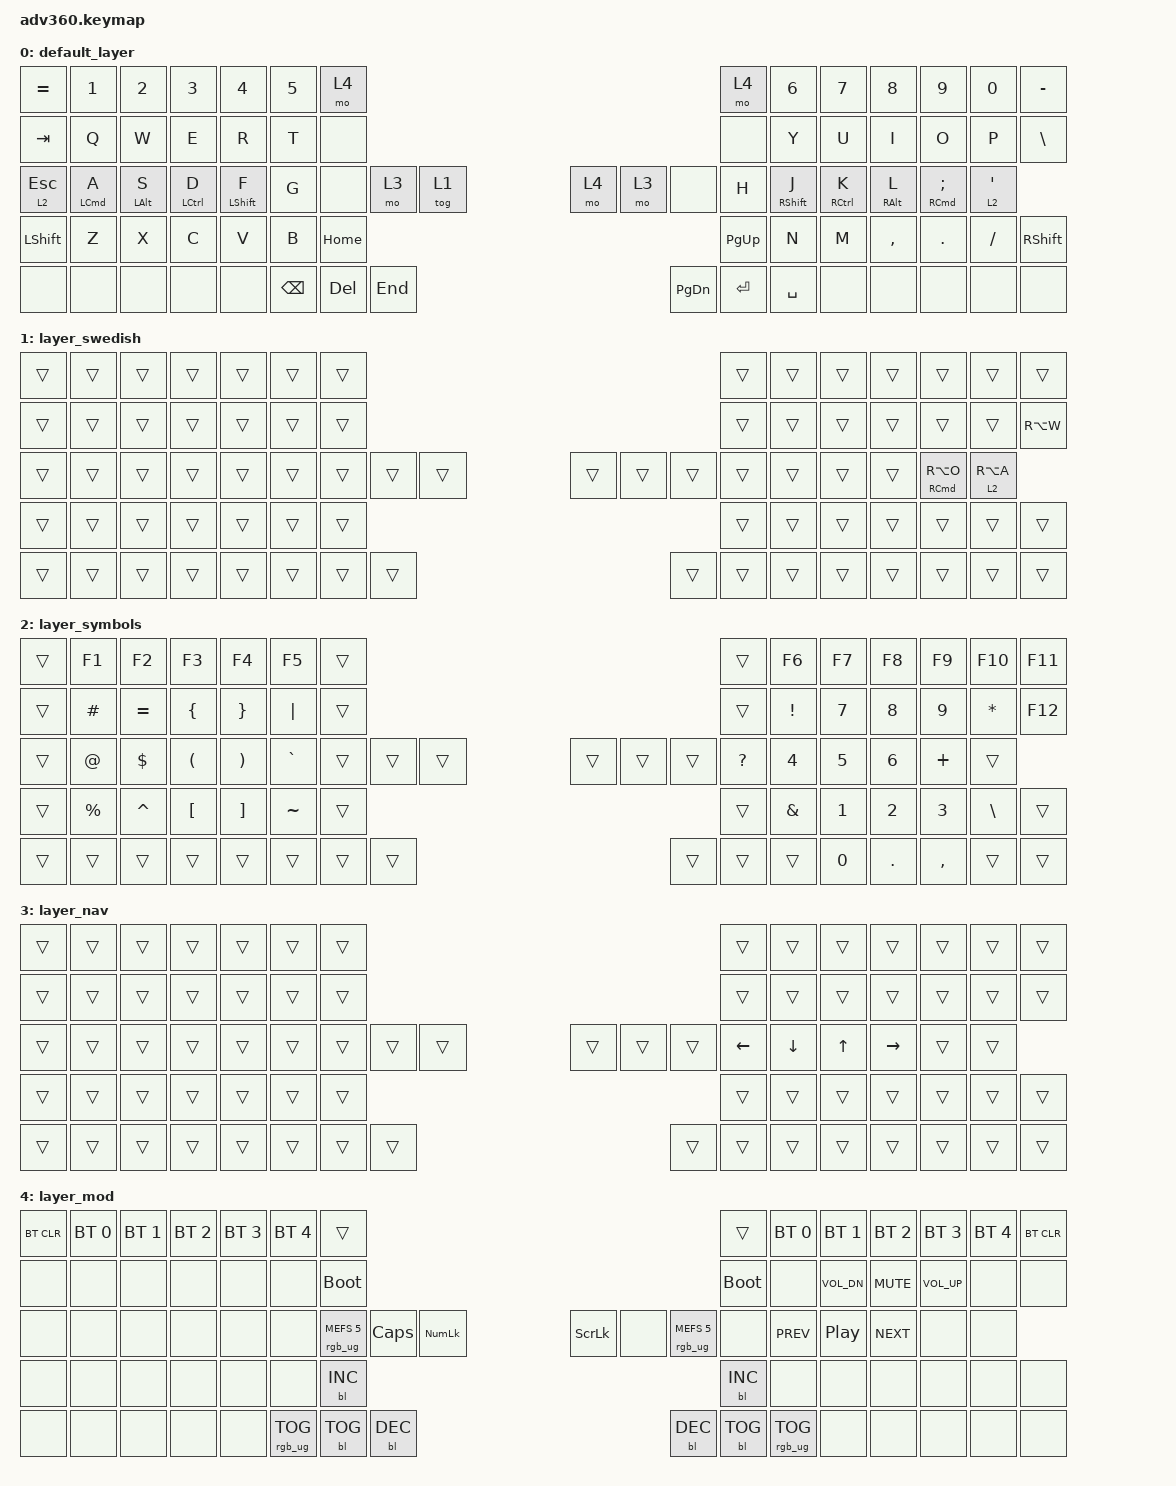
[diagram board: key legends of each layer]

/*
 * Copyright (c) 2020 The ZMK Contributors
 *
 * SPDX-License-Identifier: MIT
 */


/* THIS FILE WAS GENERATED!
 *
 * This file was generated automatically. You may or may not want to
 * edit it directly.
 */

#include <behaviors.dtsi>
#include <dt-bindings/zmk/keys.h>
#include <dt-bindings/zmk/bt.h>
#include <dt-bindings/zmk/rgb.h>
#include <dt-bindings/zmk/backlight.h>

/ {
  behaviors {
    #include "macros.dtsi"

    hm: homerow_mods {
        compatible = "zmk,behavior-hold-tap";
        label = "HOMEROW_MODS";
        #binding-cells = <2>;
        tapping-term-ms = <200>;
        quick_tap_ms = <175>;
        flavor = "tap-preferred";
        bindings = <&kp>, <&kp>;
    };
  };

    keymap {
        compatible = "zmk,keymap";


        default_layer {
            bindings = <
 &kp EQUAL              &kp N1          &kp N2              &kp N3            &kp N4  &kp N5               &mo 4                                                               &mo 4  &kp N6             &kp N7               &kp N8           &kp N9                       &kp N0  &kp MINUS
   &kp TAB               &kp Q           &kp W               &kp E             &kp R   &kp T               &none                                                               &none   &kp Y              &kp U                &kp I            &kp O                        &kp P   &kp BSLH
 &lt 2 ESC  &mt LEFT_COMMAND A  &mt LEFT_ALT S  &mt LEFT_CONTROL D  &mt LEFT_SHIFT F   &kp G               &none    &mo 3    &tog 1                      &mo 4      &mo 3      &none   &kp H  &mt RIGHT_SHIFT J  &mt RIGHT_CONTROL K  &mt RIGHT_ALT L  &mt RIGHT_COMMAND SEMICOLON  &lt 2 SQT
 &kp LSHFT               &kp Z           &kp X               &kp C             &kp V   &kp B                               &kp HOME                  &kp PG_UP                         &kp N              &kp M            &kp COMMA          &kp DOT                     &kp FSLH  &kp RSHFT
     &none               &none           &none               &none             &none                    &kp BSPC  &kp DEL   &kp END                  &kp PG_DN  &kp ENTER  &kp SPACE                      &none                &none            &none                        &none      &none
            >;
        };

        layer_swedish {
            bindings = <
 &trans  &trans  &trans  &trans  &trans  &trans            &trans                                                  &trans  &trans  &trans  &trans  &trans                   &trans       &trans
 &trans  &trans  &trans  &trans  &trans  &trans            &trans                                                  &trans  &trans  &trans  &trans  &trans                   &trans    &kp RA(W)
 &trans  &trans  &trans  &trans  &trans  &trans            &trans  &trans  &trans                  &trans  &trans  &trans  &trans  &trans  &trans  &trans  &mt RIGHT_COMMAND RA(O)  &lt 2 RA(A)
 &trans  &trans  &trans  &trans  &trans  &trans                            &trans                  &trans                  &trans  &trans  &trans  &trans                   &trans       &trans
 &trans  &trans  &trans  &trans  &trans                    &trans  &trans  &trans                  &trans  &trans  &trans          &trans  &trans  &trans                   &trans       &trans
            >;
        };

        layer_symbols {
            bindings = <
 &trans       &kp F1      &kp F2                &kp F3                 &kp F4     &kp F5            &trans                                                  &trans           &kp F6        &kp F7        &kp F8        &kp F9        &kp F10  &kp F11
 &trans     &kp HASH   &kp EQUAL        &kp LEFT_BRACE        &kp RIGHT_BRACE   &kp PIPE            &trans                                                  &trans  &kp EXCLAMATION  &kp NUMBER_7  &kp NUMBER_8  &kp NUMBER_9       &kp STAR  &kp F12
 &trans  &kp AT_SIGN  &kp DOLLAR  &kp LEFT_PARENTHESIS  &kp RIGHT_PARENTHESIS  &kp GRAVE            &trans  &trans  &trans                  &trans  &trans  &trans     &kp QUESTION  &kp NUMBER_4  &kp NUMBER_5  &kp NUMBER_6       &kp PLUS   &trans
 &trans  &kp PERCENT   &kp CARET      &kp LEFT_BRACKET      &kp RIGHT_BRACKET  &kp TILDE                            &trans                  &trans                    &kp AMPERSAND  &kp NUMBER_1  &kp NUMBER_2  &kp NUMBER_3  &kp BACKSLASH   &trans
 &trans       &trans      &trans                &trans                 &trans                       &trans  &trans  &trans                  &trans  &trans  &trans                   &kp NUMBER_0       &kp DOT     &kp COMMA         &trans   &trans
            >;
        };

        layer_nav {
            bindings = <
 &trans  &trans  &trans  &trans  &trans  &trans            &trans                                                  &trans    &trans    &trans  &trans     &trans  &trans  &trans
 &trans  &trans  &trans  &trans  &trans  &trans            &trans                                                  &trans    &trans    &trans  &trans     &trans  &trans  &trans
 &trans  &trans  &trans  &trans  &trans  &trans            &trans  &trans  &trans                  &trans  &trans  &trans  &kp LEFT  &kp DOWN  &kp UP  &kp RIGHT  &trans  &trans
 &trans  &trans  &trans  &trans  &trans  &trans                            &trans                  &trans                    &trans    &trans  &trans     &trans  &trans  &trans
 &trans  &trans  &trans  &trans  &trans                    &trans  &trans  &trans                  &trans  &trans  &trans              &trans  &trans     &trans  &trans  &trans
            >;
        };

        layer_mod {
            bindings = <
 &bt BT_CLR  &bt BT_SEL 0  &bt BT_SEL 1  &bt BT_SEL 2  &bt BT_SEL 3  &bt BT_SEL 4                            &trans                                                                                            &trans  &bt BT_SEL 0  &bt BT_SEL 1      &bt BT_SEL 2  &bt BT_SEL 3  &bt BT_SEL 4  &bt BT_CLR
      &none         &none         &none         &none         &none         &none                       &bootloader                                                                                       &bootloader         &none  &kp C_VOL_DN        &kp K_MUTE  &kp C_VOL_UP         &none       &none
      &none         &none         &none         &none         &none         &none            &rgb_ug RGB_MEFS_CMD 5  &kp CAPSLOCK  &kp KP_NUMLOCK                  &kp SCROLLLOCK       &none  &rgb_ug RGB_MEFS_CMD 5         &none    &kp C_PREV  &kp C_PLAY_PAUSE    &kp C_NEXT         &none       &none
      &none         &none         &none         &none         &none         &none                                                      &bl BL_INC                      &bl BL_INC                                             &none         &none             &none         &none         &none       &none
      &none         &none         &none         &none         &none                                 &rgb_ug RGB_TOG    &bl BL_TOG      &bl BL_DEC                      &bl BL_DEC  &bl BL_TOG         &rgb_ug RGB_TOG                       &none             &none         &none         &none       &none
            >;
        };

    };
};
